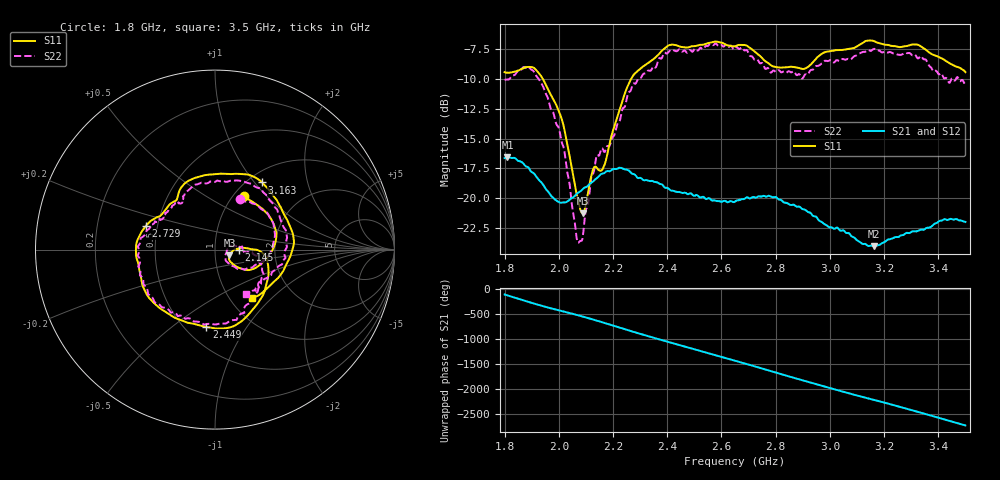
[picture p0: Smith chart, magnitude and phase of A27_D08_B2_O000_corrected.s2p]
! Created with skrf 1.9.0 (http://scikit-rf.org).
# Hz S RI R 50.0
!freq ReS11 ImS11 ReS21 ImS21 ReS12 ImS12 ReS22 ImS22
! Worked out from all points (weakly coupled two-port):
!   1601 points, 1.8 GHz to 3.5 GHz, reference 50 ohm
!   highest |S21| = -16.56 dB at 1.811 GHz (marker M1); lowest = -24.0 dB at 3.163 GHz (marker M2)
!   lowest |S11| = -21.3 dB at 2.088 GHz (marker M3), VSWR 1.19, Z = 58.6 - j3.78 ohm
!   |S11| at or under -10 dB: 1.942 GHz to 2.266 GHz (324.4 MHz wide, 15.4 % of centre)
!   |S22| runs from -23.7 to -7.0 dB; largest |S21 - S12| = 0.0028
!   S11 on the Smith chart (normalised r, x): 1.8 GHz: 1.12, +0.75; 2.145 GHz: 1.30, -0.00; 2.449 GHz: 0.63, -0.67; 2.729 GHz: 0.43, +0.13; 3.163 GHz: 1.16, +1.10; 3.5 GHz: 1.27, -0.77
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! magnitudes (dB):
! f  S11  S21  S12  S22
! 1.8 GHz  -9.4  -16.6  -16.6  -10.0
! 1.811 GHz  -9.5  -16.6  -16.6  -10.0
! 1.886 GHz  -9.0  -17.4  -17.4  -9.0
! 1.941 GHz  -10.0  -18.8  -18.8  -10.6
! 2.011 GHz  -13.4  -20.4  -20.4  -15.3
! 2.066 GHz  -19.7  -19.6  -19.6  -23.3
! 2.084 GHz  -21.2  -19.3  -19.3  -23.6
! 2.088 GHz  -21.3  -19.2  -19.3  -23.3
! 2.125 GHz  -17.7  -18.6  -18.6  -18.0
! 2.145 GHz  -17.6  -18.2  -18.2  -16.4
! 2.168 GHz  -17.2  -17.9  -17.9  -16.1
! 2.265 GHz  -10.0  -17.8  -17.8  -10.9
! 2.367 GHz  -7.9  -18.7  -18.7  -8.4
! 2.449 GHz  -7.3  -19.5  -19.5  -7.6
! 2.65 GHz  -7.2  -20.3  -20.3  -7.4
! 2.729 GHz  -7.8  -19.9  -20.0  -8.3
! 2.801 GHz  -9.0  -19.9  -19.9  -9.4
! 2.934 GHz  -8.7  -21.4  -21.4  -9.2
! 3.163 GHz  -6.8  -24.0  -24.0  -7.4
! 3.217 GHz  -7.1  -23.5  -23.4  -7.7
! 3.326 GHz  -7.1  -22.7  -22.7  -8.2
! 3.5 GHz  -9.4  -22.0  -22.0  -10.4
